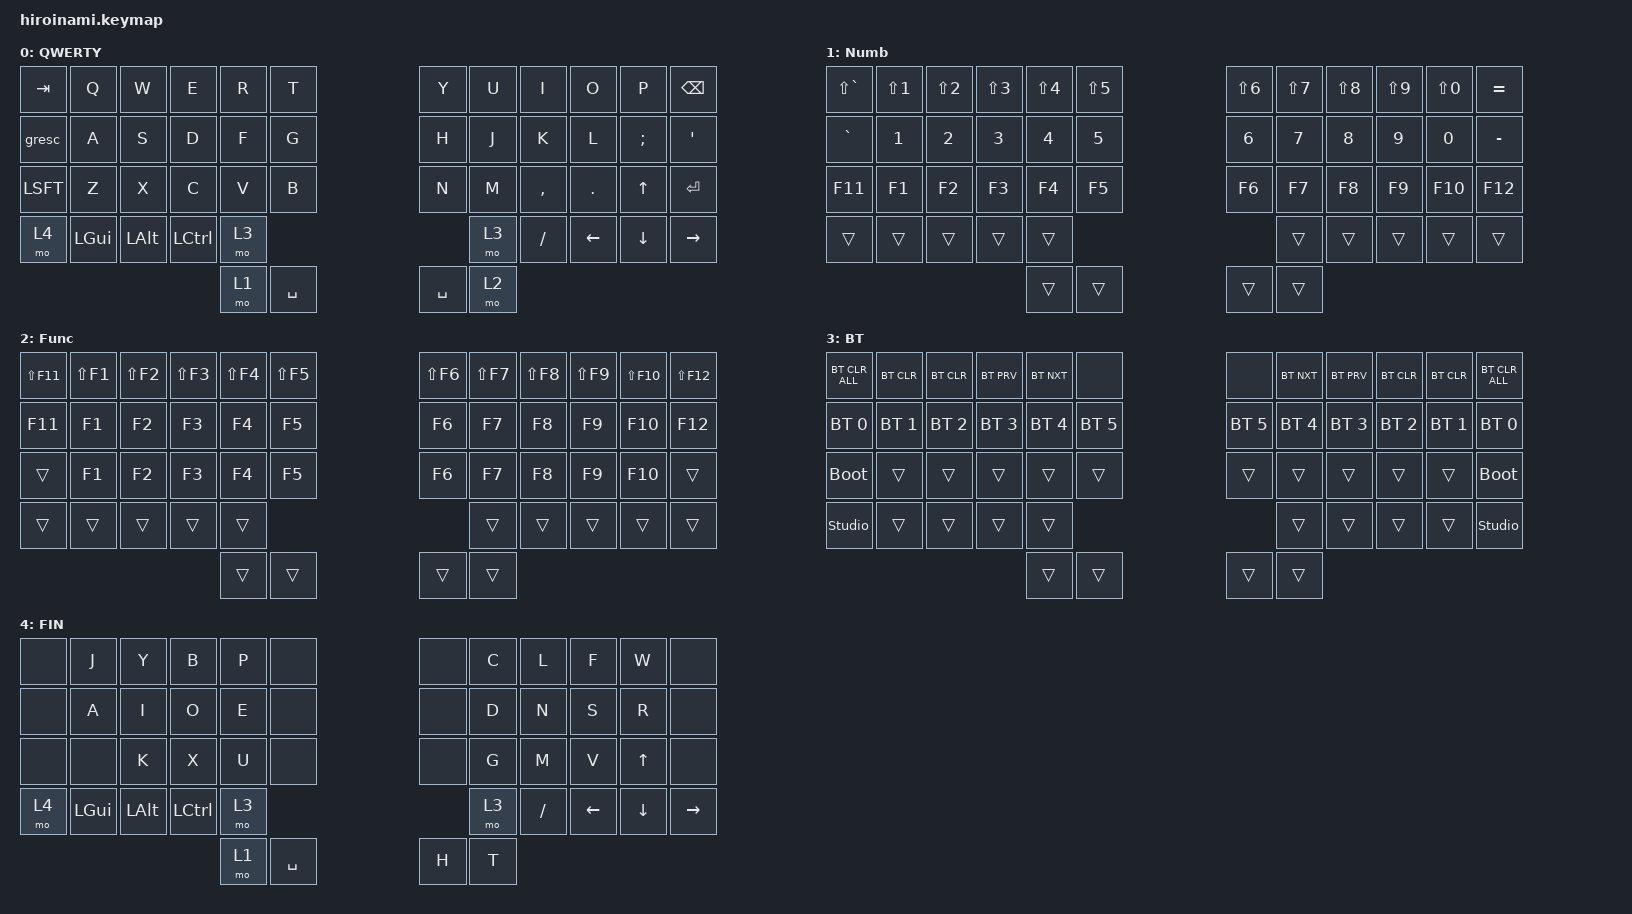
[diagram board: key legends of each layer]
/*
 * Copyright (c) 2024 The ZMK Contributors
 *
 * SPDX-License-Identifier: MIT
 */

#include <behaviors.dtsi>
#include <dt-bindings/zmk/bt.h>
#include <dt-bindings/zmk/keys.h>
#include <dt-bindings/zmk/outputs.h>

/{
    keymap {
        compatible = "zmk,keymap";

        default {
            display-name = "QWERTY";
            bindings = <
                &kp TAB  &kp Q     &kp W     &kp E     &kp R     &kp T                               &kp Y     &kp U     &kp I     &kp O     &kp P     &kp BSPC
                &gresc   &kp A     &kp S     &kp D     &kp F     &kp G                               &kp H     &kp J     &kp K     &kp L     &kp SEMI  &kp APOS
                &kp LSFT &kp Z     &kp X     &kp C     &kp V     &kp B                               &kp N     &kp M     &kp COMMA &kp DOT   &kp UP    &kp RET
                &mo 4    &kp LGUI  &kp LALT  &kp LCTRL &mo 3                                                   &mo 3     &kp FSLH  &kp LEFT  &kp DOWN  &kp RIGHT
                                                       &mo 1     &kp SPACE                           &kp SPACE &mo 2
            >;
        };    
        num {
            display-name = "Numb";
            bindings = <
                &kp LS(GRAVE) &kp LS(N1) &kp LS(N2) &kp LS(N3) &kp LS(N4) &kp LS(N5)                            &kp LS(N6) &kp LS(N7) &kp LS(N8) &kp LS(N9) &kp LS(N0) &kp EQUAL
                &kp GRAVE     &kp N1     &kp N2     &kp N3     &kp N4     &kp N5                                &kp N6     &kp N7     &kp N8     &kp N9     &kp N0     &kp MINUS
                &kp F11       &kp F1     &kp F2     &kp F3     &kp F4     &kp F5                                &kp F6     &kp F7     &kp F8     &kp F9     &kp F10    &kp F12
                &trans        &trans     &trans     &trans     &trans                                                      &trans     &trans     &trans     &trans     &trans
                                                               &trans     &trans                                &trans     &trans
            >;
        };
        func {
            display-name = "Func";
            bindings = <
                &kp LS(F11) &kp LS(F1) &kp LS(F2) &kp LS(F3) &kp LS(F4) &kp LS(F5)                            &kp LS(F6) &kp LS(F7) &kp LS(F8) &kp LS(F9) &kp LS(F10) &kp LS(F12)
                &kp F11     &kp F1     &kp F2     &kp F3     &kp F4     &kp F5                                &kp F6     &kp F7     &kp F8     &kp F9     &kp F10     &kp F12
                &trans      &kp F1     &kp F2     &kp F3     &kp F4     &kp F5                                &kp F6     &kp F7     &kp F8     &kp F9     &kp F10     &trans
                &trans        &trans     &trans     &trans     &trans                                                      &trans     &trans     &trans     &trans     &trans
                                                               &trans     &trans                                &trans     &trans
            >;
        };
        bt {
            display-name = "BT";
            bindings = <
                &bt BT_CLR_ALL &bt BT_CLR   &bt BT_CLR   &bt BT_PRV   &bt BT_NXT   &none                                       &none        &bt BT_NXT   &bt BT_PRV   &bt BT_CLR   &bt BT_CLR   &bt BT_CLR_ALL
                &bt BT_SEL 0   &bt BT_SEL 1 &bt BT_SEL 2 &bt BT_SEL 3 &bt BT_SEL 4 &bt BT_SEL 5                                &bt BT_SEL 5 &bt BT_SEL 4 &bt BT_SEL 3 &bt BT_SEL 2 &bt BT_SEL 1 &bt BT_SEL 0
                &bootloader    &trans       &trans       &trans       &trans       &trans                                      &trans       &trans       &trans       &trans       &trans       &bootloader
                &studio_unlock &trans       &trans       &trans       &trans                                                                &trans       &trans       &trans       &trans       &studio_unlock
                                                                      &trans       &trans                                      &trans       &trans 
            >;
        };
        fin {
            display-name = "FIN";
            bindings = <
                &none    &kp J     &kp Y     &kp B     &kp P     &none                               &none     &kp C     &kp L     &kp F     &kp W     &none
                &none    &kp A     &kp I     &kp O     &kp E     &none                               &none     &kp D     &kp N     &kp S     &kp R     &none
                &none    &none     &kp K     &kp X     &kp U     &none                               &none     &kp G     &kp M     &kp V     &kp UP    &none
                &mo 4    &kp LGUI  &kp LALT  &kp LCTRL &mo 3                                                   &mo 3     &kp FSLH  &kp LEFT  &kp DOWN  &kp RIGHT
                                                       &mo 1     &kp SPACE                           &kp H     &kp T   
            >;
        };
   };
};

